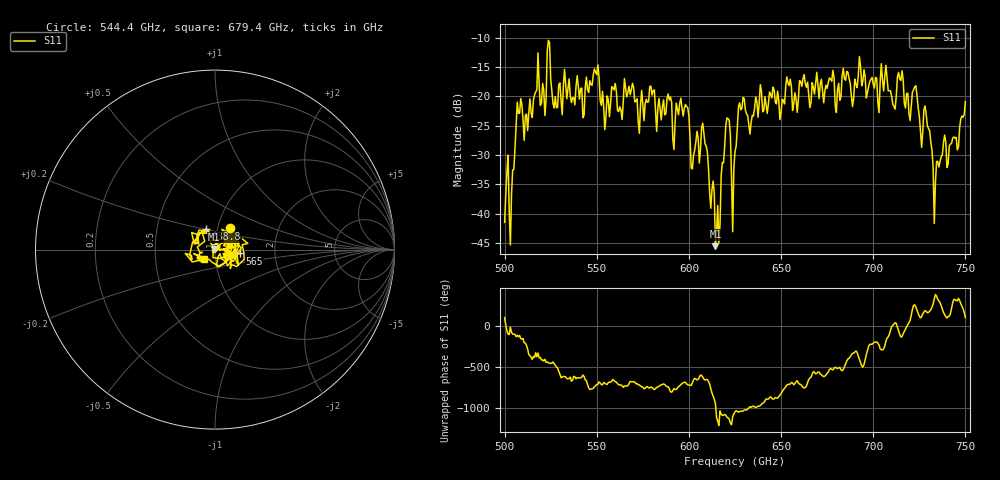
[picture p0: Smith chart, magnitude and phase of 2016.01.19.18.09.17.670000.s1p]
!Created with skrf (http://scikit-rf.org).
# GHz S RI R 50.0
!freq ReS11 ImS11
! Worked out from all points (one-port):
!   401 points, 500 GHz to 750 GHz, reference 50 ohm
!   lowest |S11| = -45.6 dB at 614.4 GHz (marker M1), VSWR 1.01, Z = 49.6 + j0.331 ohm
!   |S11| at or under -10 dB: start of sweep to end of sweep
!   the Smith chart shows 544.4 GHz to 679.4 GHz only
!   S11 on the Smith chart (normalised r, x): 544.4 GHz: 1.14, +0.28; 565 GHz: 1.32, -0.06; 638.8 GHz: 0.88, +0.21; 679.4 GHz: 0.88, -0.10
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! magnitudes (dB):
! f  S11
! 500 GHz  -41.5
! 503.8 GHz  -36.7
! 508.1 GHz  -22.9
! 521.2 GHz  -19.0
! 524.4 GHz  -10.8
! 527.5 GHz  -20.0
! 531.2 GHz  -23.1
! 544.4 GHz  -16.7
! 562.5 GHz  -21.8
! 565 GHz  -17.0
! 593.8 GHz  -22.2
! 598.8 GHz  -21.7
! 601.9 GHz  -32.4
! 608.1 GHz  -26.4
! 614.4 GHz  -45.6
! 615.6 GHz  -38.6
! 620.6 GHz  -23.7
! 625 GHz  -29.4
! 628.1 GHz  -22.3
! 638.8 GHz  -18.0
! 656.2 GHz  -22.4
! 679.4 GHz  -21.6
! 687.5 GHz  -17.7
! 714.4 GHz  -17.0
! 718.8 GHz  -19.5
! 728.8 GHz  -23.2
! 733.8 GHz  -34.6
! 750 GHz  -20.9
